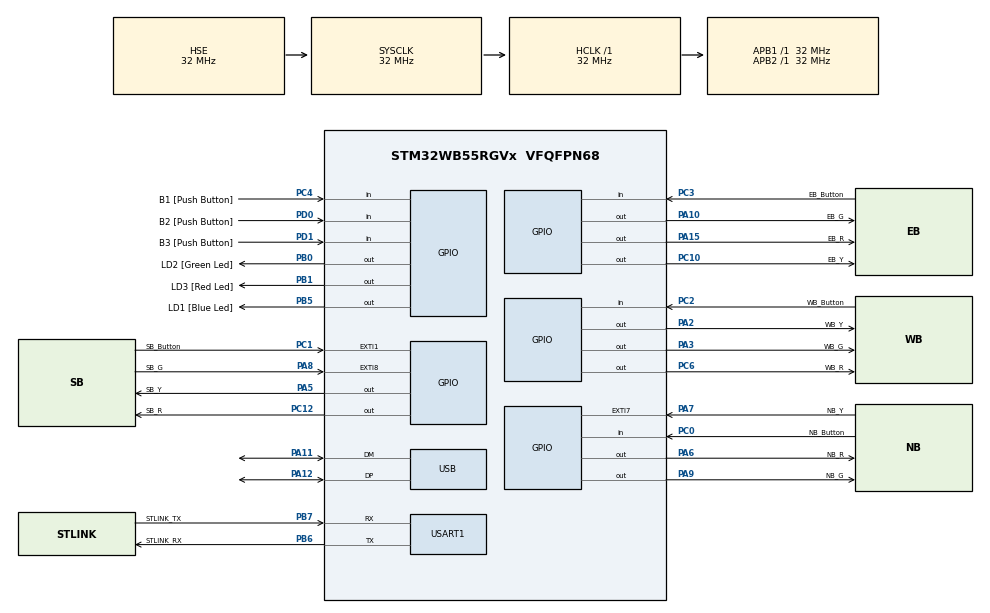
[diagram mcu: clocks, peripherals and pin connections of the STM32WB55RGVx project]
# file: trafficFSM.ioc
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FREERTOS.Tasks01=defaultTask,24,128,StartDefaultTask,Default,NULL,Dynamic,NULL,NULL
FREERTOS.Timers01=timer,timerCallback,osTimerOnce,Default,NULL,Dynamic,NULL
Mcu.Family=STM32WB
Mcu.Name=STM32WB55RGVx
Mcu.Package=VFQFPN68
NVIC.PriorityGroup=NVIC_PRIORITYGROUP_4
OSC_IN.Mode=HSE-External-Oscillator
OSC_IN.Signal=RCC_OSC_IN
OSC_OUT.Mode=HSE-External-Oscillator
OSC_OUT.Signal=RCC_OSC_OUT
PA10.GPIO_Label=EB_G
PA10.Signal=GPIO_Output
PA11.Mode=Device
PA11.Signal=USB_DM
PA12.Mode=Device
PA12.Signal=USB_DP
PA13.GPIO_Label=JTMS
PA13.Mode=Trace_Asynchronous_SW
PA13.Signal=SYS_JTMS-SWDIO
PA14.GPIO_Label=JTCK
PA14.Mode=Trace_Asynchronous_SW
PA14.Signal=SYS_JTCK-SWCLK
PA15.GPIO_Label=EB_R
PA15.Signal=GPIO_Output
PA2.GPIO_Label=WB_Y
PA2.Signal=GPIO_Output
PA3.GPIO_Label=WB_G
PA3.Signal=GPIO_Output
PA5.GPIO_Label=SB_Y
PA5.Signal=GPIO_Output
PA6.GPIO_Label=NB_R
PA6.Signal=GPIO_Output
PA7.GPIO_Label=NB_Y
PA7.Signal=GPXTI7
PA8.GPIO_Label=SB_G
PA8.Signal=GPXTI8
PA9.GPIO_Label=NB_G
PA9.Signal=GPIO_Output
PB0.GPIO_Label=LD2 [Green Led]
PB0.Signal=GPIO_Output
PB1.GPIO_Label=LD3 [Red Led]
PB1.Signal=GPIO_Output
PB3.GPIO_Label=JTDO
PB3.Mode=Trace_Asynchronous_SW
PB3.Signal=SYS_JTDO-SWO
PB5.GPIO_Label=LD1 [Blue Led]
PB5.Signal=GPIO_Output
PB6.GPIO_Label=STLINK_RX
PB6.GPIO_PuPd=GPIO_PULLUP
PB6.Mode=Asynchronous
PB6.Signal=USART1_TX
PB7.GPIO_Label=STLINK_TX
PB7.GPIO_PuPd=GPIO_PULLUP
PB7.Mode=Asynchronous
PB7.Signal=USART1_RX
PC0.GPIO_Label=NB_Button
PC0.GPIO_PuPd=GPIO_PULLUP
PC0.Signal=GPIO_Input
PC1.GPIO_Label=SB_Button
PC1.GPIO_PuPd=GPIO_PULLUP
PC1.Signal=GPXTI1
PC10.GPIO_Label=EB_Y
PC10.Signal=GPIO_Output
PC12.GPIO_Label=SB_R
PC12.Signal=GPIO_Output
PC13.Mode=SYS_WakeUp1
PC13.Signal=SYS_WKUP2
PC14-OSC32_IN.Mode=LSE-External-Oscillator
PC14-OSC32_IN.Signal=RCC_OSC32_IN
PC15-OSC32_OUT.Mode=LSE-External-Oscillator
PC15-OSC32_OUT.Signal=RCC_OSC32_OUT
PC2.GPIO_Label=WB_Button
PC2.GPIO_PuPd=GPIO_PULLUP
PC2.Signal=GPIO_Input
PC3.GPIO_Label=EB_Button
PC3.GPIO_PuPd=GPIO_PULLUP
PC3.Signal=GPIO_Input
PC4.GPIO_Label=B1 [Push Button]
PC4.Signal=GPIO_Input
PC6.GPIO_Label=WB_R
PC6.Signal=GPIO_Output
PD0.GPIO_Label=B2 [Push Button]
PD0.Signal=GPIO_Input
PD1.GPIO_Label=B3 [Push Button]
PD1.Signal=GPIO_Input
ProjectManager.HeapSize=0x200
ProjectManager.StackSize=0x400
ProjectManager.TargetToolchain=Makefile
RCC.ADCFreq_Value=48000000
RCC.AHBFreq_Value=32000000
RCC.APB1Freq_Value=32000000
RCC.APB1TimFreq_Value=32000000
RCC.APB2Freq_Value=32000000
RCC.APB2TimFreq_Value=32000000
RCC.APB3Freq_Value=16000000
RCC.CortexFreq_Value=32000000
RCC.HCLKFreq_Value=32000000
RCC.HSE_VALUE=32000000
RCC.HSI48_VALUE=48000000
RCC.HSI_VALUE=16000000
RCC.LSE_Drive_Capability=RCC_LSEDRIVE_LOW
RCC.PLLN=32
RCC.PLLSAI1N=24
RCC.SMPSCLockSelectionVirtual=RCC_SMPSCLKSOURCE_HSI
RCC.SMPSCLockSelectionVirtualVirtual=RCC_SMPSCLKSOURCE_HSI
RCC.SMPSDivider=1
RCC.SYSCLKFreq_VALUE=32000000
RCC.SYSCLKSource=RCC_SYSCLKSOURCE_HSE
RCC.USBFreq_Value=48000000
RCC.VCOOutputFreq_Value=128000000
USART1.VirtualMode-Asynchronous=VM_ASYNC
USART1.WordLength=WORDLENGTH_7B
VP_FREERTOS_VS_CMSIS_V2.Mode=CMSIS_V2
board=P-NUCLEO-WB55-NUCLEO

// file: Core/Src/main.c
/* USER CODE BEGIN Header */
/**
  ******************************************************************************
  * @file           : main.c
  * @brief          : Main program body
  ******************************************************************************
  * @attention
  *
  * Copyright (c) 2023 STMicroelectronics.
  * All rights reserved.
  *
  * This software is licensed under terms that can be found in the LICENSE file
  * in the root directory of this software component.
  * If no LICENSE file comes with this software, it is provided AS-IS.
  *
  ******************************************************************************
  */
/* USER CODE END Header */
#include "main.h"
#include "cmsis_os.h"

UART_HandleTypeDef huart1;

PCD_HandleTypeDef hpcd_USB_FS;

/* Definitions for defaultTask */
osThreadId_t defaultTaskHandle;
const osThreadAttr_t defaultTask_attributes = {
  .name = "defaultTask",
  .priority = (osPriority_t) osPriorityNormal,
  .stack_size = 128 * 4
};
/* Definitions for timer */
osTimerId_t timerHandle;
const osTimerAttr_t timer_attributes = {
  .name = "timer"
};

void SystemClock_Config(void);
void PeriphCommonClock_Config(void);
static void MX_GPIO_Init(void);
static void MX_USART1_UART_Init(void);
static void MX_USB_PCD_Init(void);
void StartDefaultTask(void *argument);
void timerCallback(void *argument);

int main(void)
{

  /* MCU Configuration--------------------------------------------------------*/

  /* Reset of all peripherals, Initializes the Flash interface and the Systick. */
  HAL_Init();

  /* Configure the system clock */
  SystemClock_Config();

/* Configure the peripherals common clocks */
  PeriphCommonClock_Config();

  /* Initialize all configured peripherals */
  MX_GPIO_Init();
  MX_USART1_UART_Init();
  MX_USB_PCD_Init();

  /* Init scheduler */
  osKernelInitialize();

  /* Create the timer(s) */
  /* creation of timer */
  timerHandle = osTimerNew(timerCallback, osTimerOnce, timerHandle, &timer_attributes);

  /* Create the thread(s) */
  /* creation of defaultTask */
  defaultTaskHandle = osThreadNew(StartDefaultTask, NULL, &defaultTask_attributes);

  /* Start scheduler */
  osKernelStart();

  /* We should never get here as control is now taken by the scheduler */
  /* Infinite loop */
  while (1)
  {

  }
}

void SystemClock_Config(void)
{
  RCC_OscInitTypeDef RCC_OscInitStruct = {0};
  RCC_ClkInitTypeDef RCC_ClkInitStruct = {0};

  /** Macro to configure the PLL multiplication factor
  */
  __HAL_RCC_PLL_PLLM_CONFIG(RCC_PLLM_DIV1);

  /** Macro to configure the PLL clock source
  */
  __HAL_RCC_PLL_PLLSOURCE_CONFIG(RCC_PLLSOURCE_MSI);

  /** Configure LSE Drive Capability
  */
  HAL_PWR_EnableBkUpAccess();
  __HAL_RCC_LSEDRIVE_CONFIG(RCC_LSEDRIVE_LOW);

  /** Configure the main internal regulator output voltage
  */
  __HAL_PWR_VOLTAGESCALING_CONFIG(PWR_REGULATOR_VOLTAGE_SCALE1);

  /** Initializes the RCC Oscillators according to the specified parameters
  * in the RCC_OscInitTypeDef structure.
  */
  RCC_OscInitStruct.OscillatorType = RCC_OSCILLATORTYPE_HSI|RCC_OSCILLATORTYPE_HSE
                              |RCC_OSCILLATORTYPE_LSE|RCC_OSCILLATORTYPE_MSI;
  RCC_OscInitStruct.HSEState = RCC_HSE_ON;
  RCC_OscInitStruct.LSEState = RCC_LSE_ON;
  RCC_OscInitStruct.HSIState = RCC_HSI_ON;
  RCC_OscInitStruct.MSIState = RCC_MSI_ON;
  RCC_OscInitStruct.HSICalibrationValue = RCC_HSICALIBRATION_DEFAULT;
  RCC_OscInitStruct.MSICalibrationValue = RCC_MSICALIBRATION_DEFAULT;
  RCC_OscInitStruct.MSIClockRange = RCC_MSIRANGE_6;
  RCC_OscInitStruct.PLL.PLLState = RCC_PLL_NONE;
  if (HAL_RCC_OscConfig(&RCC_OscInitStruct) != HAL_OK)
  {
    Error_Handler();
  }

  /** Configure the SYSCLKSource, HCLK, PCLK1 and PCLK2 clocks dividers
  */
  RCC_ClkInitStruct.ClockType = RCC_CLOCKTYPE_HCLK4|RCC_CLOCKTYPE_HCLK2
                              |RCC_CLOCKTYPE_HCLK|RCC_CLOCKTYPE_SYSCLK
                              |RCC_CLOCKTYPE_PCLK1|RCC_CLOCKTYPE_PCLK2;
  RCC_ClkInitStruct.SYSCLKSource = RCC_SYSCLKSOURCE_HSE;
  RCC_ClkInitStruct.AHBCLKDivider = RCC_SYSCLK_DIV1;
  RCC_ClkInitStruct.APB1CLKDivider = RCC_HCLK_DIV1;
  RCC_ClkInitStruct.APB2CLKDivider = RCC_HCLK_DIV1;
  RCC_ClkInitStruct.AHBCLK2Divider = RCC_SYSCLK_DIV1;
  RCC_ClkInitStruct.AHBCLK4Divider = RCC_SYSCLK_DIV1;

  if (HAL_RCC_ClockConfig(&RCC_ClkInitStruct, FLASH_LATENCY_1) != HAL_OK)
  {
    Error_Handler();
  }

  /** Enable MSI Auto calibration
  */
  HAL_RCCEx_EnableMSIPLLMode();
}

void PeriphCommonClock_Config(void)
{
  RCC_PeriphCLKInitTypeDef PeriphClkInitStruct = {0};

  /** Initializes the peripherals clock
  */
  PeriphClkInitStruct.PeriphClockSelection = RCC_PERIPHCLK_SMPS;
  PeriphClkInitStruct.SmpsClockSelection = RCC_SMPSCLKSOURCE_HSI;
  PeriphClkInitStruct.SmpsDivSelection = RCC_SMPSCLKDIV_RANGE0;

  if (HAL_RCCEx_PeriphCLKConfig(&PeriphClkInitStruct) != HAL_OK)
  {
    Error_Handler();
  }
}

static void MX_USART1_UART_Init(void)
{

  huart1.Instance = USART1;
  huart1.Init.BaudRate = 115200;
  huart1.Init.WordLength = UART_WORDLENGTH_7B;
  huart1.Init.StopBits = UART_STOPBITS_1;
  huart1.Init.Parity = UART_PARITY_NONE;
  huart1.Init.Mode = UART_MODE_TX_RX;
  huart1.Init.HwFlowCtl = UART_HWCONTROL_NONE;
  huart1.Init.OverSampling = UART_OVERSAMPLING_16;
  huart1.Init.OneBitSampling = UART_ONE_BIT_SAMPLE_DISABLE;
  huart1.Init.ClockPrescaler = UART_PRESCALER_DIV1;
  huart1.AdvancedInit.AdvFeatureInit = UART_ADVFEATURE_NO_INIT;
  if (HAL_UART_Init(&huart1) != HAL_OK)
  {
    Error_Handler();
  }
  if (HAL_UARTEx_SetTxFifoThreshold(&huart1, UART_TXFIFO_THRESHOLD_1_8) != HAL_OK)
  {
    Error_Handler();
  }
  if (HAL_UARTEx_SetRxFifoThreshold(&huart1, UART_RXFIFO_THRESHOLD_1_8) != HAL_OK)
  {
    Error_Handler();
  }
  if (HAL_UARTEx_DisableFifoMode(&huart1) != HAL_OK)
  {
    Error_Handler();
  }

}

static void MX_USB_PCD_Init(void)
{

  hpcd_USB_FS.Instance = USB;
  hpcd_USB_FS.Init.dev_endpoints = 8;
  hpcd_USB_FS.Init.speed = PCD_SPEED_FULL;
  hpcd_USB_FS.Init.phy_itface = PCD_PHY_EMBEDDED;
  hpcd_USB_FS.Init.Sof_enable = DISABLE;
  hpcd_USB_FS.Init.low_power_enable = DISABLE;
  hpcd_USB_FS.Init.lpm_enable = DISABLE;
  hpcd_USB_FS.Init.battery_charging_enable = DISABLE;
  if (HAL_PCD_Init(&hpcd_USB_FS) != HAL_OK)
  {
    Error_Handler();
  }

}

static void MX_GPIO_Init(void)
{
  GPIO_InitTypeDef GPIO_InitStruct = {0};

  /* GPIO Ports Clock Enable */
  __HAL_RCC_GPIOC_CLK_ENABLE();
  __HAL_RCC_GPIOA_CLK_ENABLE();
  __HAL_RCC_GPIOB_CLK_ENABLE();
  __HAL_RCC_GPIOD_CLK_ENABLE();

  /*Configure GPIO pin Output Level */
  HAL_GPIO_WritePin(GPIOA, WB_Y_Pin|WB_G_Pin|SB_Y_Pin|NB_R_Pin
                          |NB_G_Pin|EB_G_Pin|EB_R_Pin, GPIO_PIN_RESET);

  /*Configure GPIO pin Output Level */
  HAL_GPIO_WritePin(GPIOB, LD2_Pin|LD3_Pin|LD1_Pin, GPIO_PIN_RESET);

  /*Configure GPIO pin Output Level */
  HAL_GPIO_WritePin(GPIOC, WB_R_Pin|EB_Y_Pin|SB_R_Pin, GPIO_PIN_RESET);

  /*Configure GPIO pins : NB_Button_Pin WB_Button_Pin EB_Button_Pin */
  GPIO_InitStruct.Pin = NB_Button_Pin|WB_Button_Pin|EB_Button_Pin;
  GPIO_InitStruct.Mode = GPIO_MODE_INPUT;
  GPIO_InitStruct.Pull = GPIO_PULLUP;
  HAL_GPIO_Init(GPIOC, &GPIO_InitStruct);

  /*Configure GPIO pin : SB_Button_Pin */
  GPIO_InitStruct.Pin = SB_Button_Pin;
  GPIO_InitStruct.Mode = GPIO_MODE_IT_RISING;
  GPIO_InitStruct.Pull = GPIO_PULLUP;
  HAL_GPIO_Init(SB_Button_GPIO_Port, &GPIO_InitStruct);

  /*Configure GPIO pins : WB_Y_Pin WB_G_Pin SB_Y_Pin NB_R_Pin
                           NB_G_Pin EB_G_Pin EB_R_Pin */
  GPIO_InitStruct.Pin = WB_Y_Pin|WB_G_Pin|SB_Y_Pin|NB_R_Pin
                          |NB_G_Pin|EB_G_Pin|EB_R_Pin;
  GPIO_InitStruct.Mode = GPIO_MODE_OUTPUT_PP;
  GPIO_InitStruct.Pull = GPIO_NOPULL;
  GPIO_InitStruct.Speed = GPIO_SPEED_FREQ_LOW;
  HAL_GPIO_Init(GPIOA, &GPIO_InitStruct);

  /*Configure GPIO pins : NB_Y_Pin SB_G_Pin */
  GPIO_InitStruct.Pin = NB_Y_Pin|SB_G_Pin;
  GPIO_InitStruct.Mode = GPIO_MODE_IT_RISING;
  GPIO_InitStruct.Pull = GPIO_NOPULL;
  HAL_GPIO_Init(GPIOA, &GPIO_InitStruct);

  /*Configure GPIO pin : B1_Pin */
  GPIO_InitStruct.Pin = B1_Pin;
  GPIO_InitStruct.Mode = GPIO_MODE_INPUT;
  GPIO_InitStruct.Pull = GPIO_NOPULL;
  HAL_GPIO_Init(B1_GPIO_Port, &GPIO_InitStruct);

  /*Configure GPIO pins : LD2_Pin LD3_Pin LD1_Pin */
  GPIO_InitStruct.Pin = LD2_Pin|LD3_Pin|LD1_Pin;
  GPIO_InitStruct.Mode = GPIO_MODE_OUTPUT_PP;
  GPIO_InitStruct.Pull = GPIO_NOPULL;
  GPIO_InitStruct.Speed = GPIO_SPEED_FREQ_LOW;
  HAL_GPIO_Init(GPIOB, &GPIO_InitStruct);

  /*Configure GPIO pins : WB_R_Pin EB_Y_Pin SB_R_Pin */
  GPIO_InitStruct.Pin = WB_R_Pin|EB_Y_Pin|SB_R_Pin;
  GPIO_InitStruct.Mode = GPIO_MODE_OUTPUT_PP;
  GPIO_InitStruct.Pull = GPIO_NOPULL;
  GPIO_InitStruct.Speed = GPIO_SPEED_FREQ_LOW;
  HAL_GPIO_Init(GPIOC, &GPIO_InitStruct);

  /*Configure GPIO pins : B2_Pin B3_Pin */
  GPIO_InitStruct.Pin = B2_Pin|B3_Pin;
  GPIO_InitStruct.Mode = GPIO_MODE_INPUT;
  GPIO_InitStruct.Pull = GPIO_NOPULL;
  HAL_GPIO_Init(GPIOD, &GPIO_InitStruct);

}

/* USER CODE BEGIN 4 */
enum State {NS_Go=0, NS_Go_Change_Rdy=1, NS_Stopping=2, NS_Stopped=3, EW_Go=4, EW_Go_Change_Rdy=5, EW_Stopping=6, EW_Stopped=7};
enum Color {RED, YELLOW, GREEN};
enum State current_state = NS_Go;

int num_started_timers = 0;

void set_EW(enum Color color){
  switch(color){
      case RED:
        //Set Easts
        HAL_GPIO_WritePin(GPIOA, GPIO_PIN_15, GPIO_PIN_SET);    // Red
        HAL_GPIO_WritePin(GPIOC, GPIO_PIN_10, GPIO_PIN_RESET);  // Yellow
        HAL_GPIO_WritePin(GPIOA, GPIO_PIN_10, GPIO_PIN_RESET);  // Green
        //Set Wests
        HAL_GPIO_WritePin(GPIOC, GPIO_PIN_6, GPIO_PIN_SET);     // Red
        HAL_GPIO_WritePin(GPIOA, GPIO_PIN_2, GPIO_PIN_RESET);   // Yellow
        HAL_GPIO_WritePin(GPIOA, GPIO_PIN_3, GPIO_PIN_RESET);   // Green
        break;
      case YELLOW:
        //Set Easts
        HAL_GPIO_WritePin(GPIOA, GPIO_PIN_15, GPIO_PIN_RESET);    // Red
        HAL_GPIO_WritePin(GPIOC, GPIO_PIN_10, GPIO_PIN_SET);  // Yellow
        HAL_GPIO_WritePin(GPIOA, GPIO_PIN_10, GPIO_PIN_RESET);  // Green
        //Set Wests
        HAL_GPIO_WritePin(GPIOC, GPIO_PIN_6, GPIO_PIN_RESET);     // Red
        HAL_GPIO_WritePin(GPIOA, GPIO_PIN_2, GPIO_PIN_SET);   // Yellow
        HAL_GPIO_WritePin(GPIOA, GPIO_PIN_3, GPIO_PIN_RESET);   // Green
        break;
      case GREEN:
        //Set Easts
        HAL_GPIO_WritePin(GPIOA, GPIO_PIN_15, GPIO_PIN_RESET);    // Red
        HAL_GPIO_WritePin(GPIOC, GPIO_PIN_10, GPIO_PIN_RESET);  // Yellow
        HAL_GPIO_WritePin(GPIOA, GPIO_PIN_10, GPIO_PIN_SET);  // Green
        //Set Wests
        HAL_GPIO_WritePin(GPIOC, GPIO_PIN_6, GPIO_PIN_RESET);     // Red
        HAL_GPIO_WritePin(GPIOA, GPIO_PIN_2, GPIO_PIN_RESET);   // Yellow
        HAL_GPIO_WritePin(GPIOA, GPIO_PIN_3, GPIO_PIN_SET);   // Green
        break;
      default:
        break;
  }
}
void set_NS(enum Color color){
  switch(color){
      case RED:
        //Set North
        HAL_GPIO_WritePin(GPIOA, GPIO_PIN_6, GPIO_PIN_SET);    // Red
        HAL_GPIO_WritePin(GPIOA, GPIO_PIN_7, GPIO_PIN_RESET);  // Yellow
        HAL_GPIO_WritePin(GPIOA, GPIO_PIN_9, GPIO_PIN_RESET);  // Green
        //Set South
        HAL_GPIO_WritePin(GPIOC, GPIO_PIN_12, GPIO_PIN_SET);     // Red
        HAL_GPIO_WritePin(GPIOA, GPIO_PIN_5, GPIO_PIN_RESET);   // Yellow
        HAL_GPIO_WritePin(GPIOA, GPIO_PIN_8, GPIO_PIN_RESET);   // Green
        break;
      case YELLOW:
        //Set North
        HAL_GPIO_WritePin(GPIOA, GPIO_PIN_6, GPIO_PIN_RESET);    // Red
        HAL_GPIO_WritePin(GPIOA, GPIO_PIN_7, GPIO_PIN_SET);  // Yellow
        HAL_GPIO_WritePin(GPIOA, GPIO_PIN_9, GPIO_PIN_RESET);  // Green
        //Set South
        HAL_GPIO_WritePin(GPIOC, GPIO_PIN_12, GPIO_PIN_RESET);     // Red
        HAL_GPIO_WritePin(GPIOA, GPIO_PIN_5, GPIO_PIN_SET);   // Yellow
        HAL_GPIO_WritePin(GPIOA, GPIO_PIN_8, GPIO_PIN_RESET);   // Green
        break;
      case GREEN:
        //Set North
        HAL_GPIO_WritePin(GPIOA, GPIO_PIN_6, GPIO_PIN_RESET);    // Red
        HAL_GPIO_WritePin(GPIOA, GPIO_PIN_7, GPIO_PIN_RESET);  // Yellow
        HAL_GPIO_WritePin(GPIOA, GPIO_PIN_9, GPIO_PIN_SET);  // Green
        //Set South
        HAL_GPIO_WritePin(GPIOC, GPIO_PIN_12, GPIO_PIN_RESET);     // Red
        HAL_GPIO_WritePin(GPIOA, GPIO_PIN_5, GPIO_PIN_RESET);   // Yellow
        HAL_GPIO_WritePin(GPIOA, GPIO_PIN_8, GPIO_PIN_SET);   // Green
        break;
      default:
        break;
  }
}
int get_car_NS(){
  int north = HAL_GPIO_ReadPin(GPIOC, GPIO_PIN_0);
  int south = HAL_GPIO_ReadPin(GPIOC, GPIO_PIN_1);
  return north + south;
}
int get_car_EW(){
  int east = HAL_GPIO_ReadPin(GPIOC, GPIO_PIN_3);
  int west = HAL_GPIO_ReadPin(GPIOC, GPIO_PIN_2);
  return east + west;
}
/* USER CODE END 4 */

void StartDefaultTask(void *argument)
{
  /* USER CODE BEGIN 5 */
  /* Infinite loop */
  for(;;)
  {
    switch(current_state){
      case NS_Go:
        if (num_started_timers == 0){
          osTimerStart(timerHandle, 20000/*20000 ms = 20 seconds * */);
          num_started_timers++;
          set_EW(RED);
          set_NS(GREEN);
        }
        break;
      case NS_Go_Change_Rdy:
        //GPIO Read carEW
        if (num_started_timers == 0 || get_car_EW()){
          osTimerStart(timerHandle, 20000/*20000 ms = 20 seconds * */);
          num_started_timers++;
          set_EW(RED);
          set_NS(GREEN);
        }
        // Set GPIOs
        break;
      case NS_Stopping:
        if (num_started_timers == 0){
          osTimerStart(timerHandle, 5000/*5000 ms = 5 seconds * */);
          num_started_timers++;
          set_EW(RED);
          set_NS(YELLOW);
        }
        // Set GPIOs
        break;
      case NS_Stopped:
        if (num_started_timers == 0){
          osTimerStart(timerHandle, 2000/*2000 ms = 2 seconds * */);
          num_started_timers++;
          set_EW(RED);
          set_NS(RED);
        }
        // Set GPIOs
        break;
      case EW_Go:
        if (num_started_timers == 0){
          osTimerStart(timerHandle, 20000/*20000 ms = 20 seconds * */);
          num_started_timers++;
          set_EW(GREEN);
          set_NS(RED);
        }
        // Set GPIOs
        break;
      case EW_Go_Change_Rdy:
        //GPIO Read carEW
        if (num_started_timers == 0 || get_car_NS()){
          osTimerStart(timerHandle, 20000/*20000 ms = 20 seconds * */);
          num_started_timers++;
          set_EW(GREEN);
          set_NS(RED);
        }
        // Set GPIOs
        break;
      case EW_Stopping:
        if (num_started_timers == 0){
          osTimerStart(timerHandle, 5000/*5000 ms = 5 seconds * */);
          num_started_timers++;
          set_EW(YELLOW);
          set_NS(RED);
        }
        // Set GPIOs
        break;
      case EW_Stopped:
        if (num_started_timers == 0){
          osTimerStart(timerHandle, 2000/*2000 ms = 2 seconds * */);
          num_started_timers++;
          set_EW(RED);
          set_NS(GREEN);
        }
        // Set GPIOs
        break;
      default:
        //Set all GPIOs to red
        break;

    }
  }
  /* USER CODE END 5 */
}

/* timerCallback function */
void timerCallback(void *argument)
{
  /* USER CODE BEGIN timerCallback */
  if (argument != NULL){
    current_state = (current_state + 1) % 8;
    num_started_timers = 0;
  }
  /* USER CODE END timerCallback */
}

void Error_Handler(void)
{
  __disable_irq();
  while (1)
  {
  }
}
